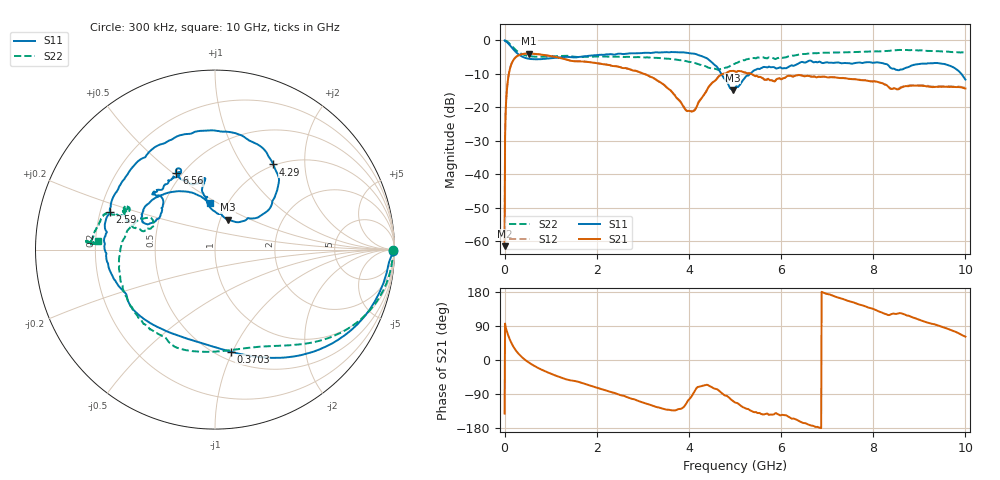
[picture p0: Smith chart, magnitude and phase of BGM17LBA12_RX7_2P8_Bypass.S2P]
!Agilent Technologies,E5071C,MY46316587,B.13.01
!Date: Fri Dec 08 11:16:30 2017
!Data & Calibration Information:
!Freq	S11:SOLT2(ON)	S21:SOLT2(ON)	S12:SOLT2(ON)	S22:SOLT2(ON)
!PortZ  Port1:50+j0  Port2:50+j0
!Above PortZ is port z conversion or system Z0 setting when saving the data.
!When reading, reference impedance value at option line is always used.
# Hz S dB R 50
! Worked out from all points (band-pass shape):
!   1001 points, 300 kHz to 10 GHz, reference 50 ohm
!   highest |S21| = -3.96 dB at 530.3 MHz (marker M1); lowest = -61.5 dB at 300 kHz (marker M2)
!   |S21| within 3 dB of the highest: 151.9 MHz to 2.066 GHz (1.914 GHz wide, 173 % of centre)
!   lowest |S11| = -14.8 dB at 4.95 GHz (marker M3), VSWR 1.44, Z = 54.4 + j18.8 ohm
!   |S11| at or under -10 dB: 4.703 GHz to 5.327 GHz (624.8 MHz wide, 12.5 % of centre); 9.909 GHz to end of sweep
!   |S22| runs from -8.8 to -0.1 dB; largest |S21 - S12| = 0.0059
!   S11 on the Smith chart (normalised r, x): 300 kHz: open; 370.3 MHz: 0.58, -0.98; 2.59 GHz: 0.24, +0.16; 4.29 GHz: 0.98, +1.39; 6.56 GHz: 0.47, +0.51; 10 GHz: 0.83, +0.46
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300000  -0.06 -0.4  -61.50 -141.2  -60.60 163.3  -0.06 -0.0
6.02982e7  -0.69 -21.3  -13.27 71.2  -13.19 71.2  -0.41 -16.2
9.02973e7  -1.09 -30.6  -10.19 61.1  -10.15 61.1  -0.77 -23.3
1.902943e8  -2.72 -54.9  -5.91 35.3  -5.89 35.2  -2.24 -41.1
3.702889e8  -4.81 -81.3  -4.17 8.2  -4.16 7.9  -4.08 -59.3
5.302841e8  -5.54 -96.6  -3.96 -7.1  -3.96 -7.2  -4.74 -70.7
1.020269e9  -5.34 -128.7  -4.77 -37.0  -4.75 -37.1  -4.82 -97.6
1.67025e9  -4.91 -157.7  -6.32 -60.2  -6.28 -60.2  -4.97 -121.2
2.590222e9  -4.12 160.5  -8.31 -94.6  -8.27 -94.4  -4.99 -145.0
3.3402e9  -3.65 115.9  -12.26 -125.2  -12.22 -124.9  -5.31 -169.9
3.970181e9  -3.76 75.5  -21.17 -109.0  -21.07 -108.6  -6.37 164.2
4.290171e9  -4.81 55.5  -17.03 -68.2  -16.98 -68.1  -7.49 155.3
4.600162e9  -7.80 38.8  -11.63 -76.7  -11.62 -76.5  -8.65 156.3
4.950152e9  -14.82 66.6  -9.15 -107.5  -9.13 -107.5  -7.26 164.9
5.00015e9  -14.20 78.4  -9.31 -112.0  -9.28 -111.8  -6.98 165.0
5.460136e9  -8.77 100.5  -10.65 -137.6  -10.61 -137.4  -5.38 157.6
6.560103e9  -6.43 116.8  -10.62 -168.4  -10.62 -168.2  -4.03 161.4
6.6701e9  -6.29 113.1  -10.90 -173.2  -10.85 -173.1  -3.92 161.5
8.34005e9  -7.69 135.7  -14.08 118.5  -14.00 118.5  -3.18 176.0
8.740038e9  -8.11 158.7  -13.71 117.3  -13.55 117.2  -2.93 176.6
9.35002e9  -6.79 149.6  -13.95 93.6  -13.73 93.4  -3.25 177.0
1e10  -11.74 96.4  -14.41 61.5  -14.25 61.8  -3.70 175.7
